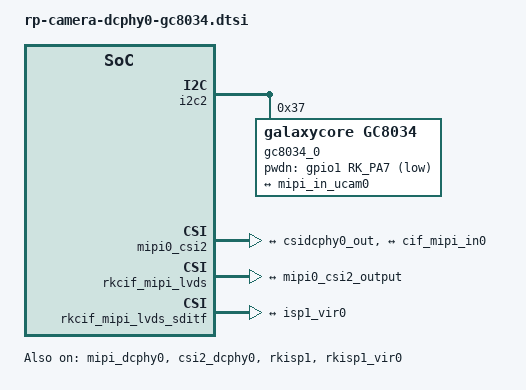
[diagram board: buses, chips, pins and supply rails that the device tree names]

&i2c2 {
    status = "okay";
    pinctrl-names = "default";
    pinctrl-0 = <&i2c2m4_xfer>;
  
    gc8034_0: gc8034_0@37 {
        compatible = "galaxycore,gc8034";
        status = "okay";
        reg = <0x37>;
        clocks = <&cru CLK_MIPI_CAMARAOUT_M1>;
        clock-names = "xvclk";
        power-domains = <&power RK3588_PD_VI>;
        pinctrl-names = "default";
        pinctrl-0 = <&mipim0_camera1_clk>;
        rockchip,grf = <&sys_grf>;
        pwdn-gpios = <&gpio1 RK_PA7 GPIO_ACTIVE_LOW>;
        rockchip,camera-module-index = <0>;
        rockchip,camera-module-facing = "back";
        rockchip,camera-module-name = "default";
        rockchip,camera-module-lens-name = "default";
        port {
            gc8034_out0: endpoint {
                remote-endpoint = <&mipi_in_ucam0>;
                data-lanes = <1 2 3 4>;
            };
        };
    };
};


&mipi_dcphy0 {
    status = "okay";
};

&csi2_dcphy0 {
    status = "okay";

    ports {
        #address-cells = <1>;
        #size-cells = <0>;
    port@0 {
            reg = <0>;
            #address-cells = <1>;
            #size-cells = <0>;

            mipi_in_ucam0: endpoint@1 {
                reg = <1>;
                remote-endpoint = <&gc8034_out0>;
        data-lanes = <1 2 3 4>;
            };
        };

        port@1 {
            reg = <1>;
            #address-cells = <1>;
            #size-cells = <0>;

            csidcphy0_out: endpoint@0 {
                reg = <0>;
                remote-endpoint = <&mipi0_csi2_input>;
            };
        };
    };
};

&mipi0_csi2 {
    status = "okay";

    ports {
        #address-cells = <1>;
        #size-cells = <0>;

        port@0 {
            reg = <0>;
            #address-cells = <1>;
            #size-cells = <0>;

            mipi0_csi2_input: endpoint@0 {
                reg = <0>;
                remote-endpoint = <&csidcphy0_out>;
            };
        };

        port@1 {
            reg = <1>;
            #address-cells = <1>;
            #size-cells = <0>;

            mipi0_csi2_output: endpoint@1 {
                reg = <1>;
                remote-endpoint = <&cif_mipi_in0>;
            };
        };
    };
};

&rkcif_mipi_lvds {
    status = "okay";

    port {
        cif_mipi_in0: endpoint {
            remote-endpoint = <&mipi0_csi2_output>;
        };
    };
};

&rkcif_mipi_lvds_sditf {
    status = "okay";

    port {
        mipi_lvds_sditf: endpoint {
            remote-endpoint = <&isp1_vir0>;
        };
    };
};

&rkisp1 {
    status = "okay";
};

&isp1_mmu {
    status = "okay";
};

&rkisp1_vir0 {
    status = "okay";
    port {
        #address-cells = <1>;
        #size-cells = <0>;

        isp1_vir0: endpoint@0 {
            reg = <0>;
            remote-endpoint = <&mipi_lvds_sditf>;
        };
    };
};



